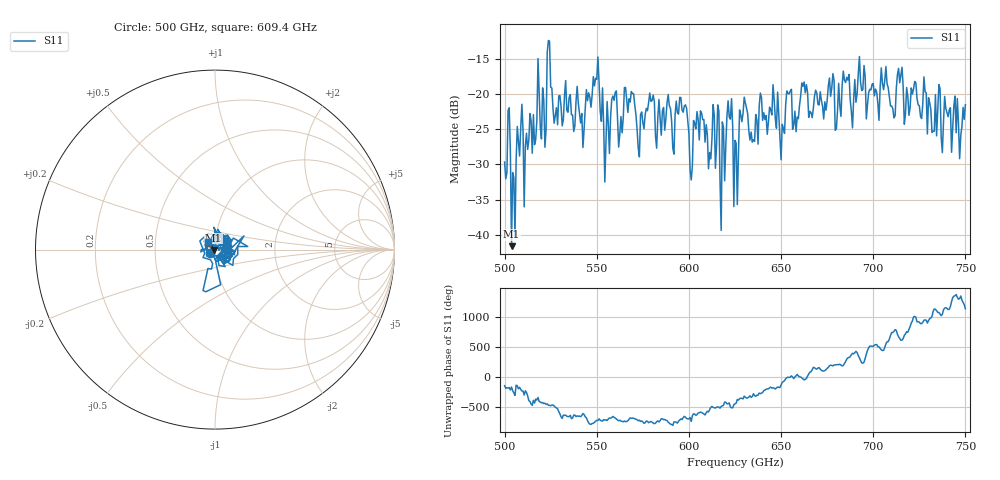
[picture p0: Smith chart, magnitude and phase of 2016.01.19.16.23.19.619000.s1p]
!Created with skrf (http://scikit-rf.org).
# GHz S RI R 50.0
!freq ReS11 ImS11
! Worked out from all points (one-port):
!   401 points, 500 GHz to 750 GHz, reference 50 ohm
!   lowest |S11| = -41.6 dB at 503.8 GHz (marker M1), VSWR 1.02, Z = 49.2 - j0.246 ohm
!   |S11| at or under -10 dB: start of sweep to end of sweep
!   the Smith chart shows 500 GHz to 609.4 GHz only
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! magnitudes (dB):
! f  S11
! 500 GHz  -29.7
! 503.8 GHz  -41.6
! 505 GHz  -31.8
! 508.1 GHz  -28.8
! 521.2 GHz  -20.8
! 524.4 GHz  -12.5
! 527.5 GHz  -23.0
! 531.2 GHz  -24.5
! 542.5 GHz  -27.6
! 549.4 GHz  -17.7
! 555.6 GHz  -21.1
! 559.4 GHz  -20.9
! 562.5 GHz  -25.7
! 566.2 GHz  -20.8
! 572.5 GHz  -27.7
! 593.8 GHz  -22.7
! 600.6 GHz  -30.7
! 615 GHz  -27.2
! 618.1 GHz  -24.0
! 621.9 GHz  -23.2
! 625 GHz  -26.6
! 630.6 GHz  -21.3
! 634.4 GHz  -26.8
! 656.2 GHz  -25.0
! 687.5 GHz  -20.8
! 714.4 GHz  -18.4
! 718.8 GHz  -20.3
! 750 GHz  -21.5
